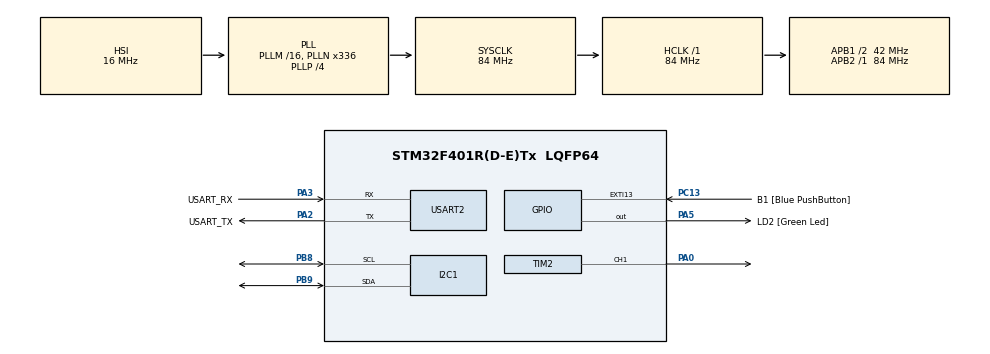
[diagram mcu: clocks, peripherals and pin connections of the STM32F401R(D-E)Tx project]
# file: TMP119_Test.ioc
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Mcu.Family=STM32F4
Mcu.Name=STM32F401R(D-E)Tx
Mcu.Package=LQFP64
NVIC.PriorityGroup=NVIC_PRIORITYGROUP_4
PA0-WKUP.Signal=S_TIM2_CH1_ETR
PA13.GPIO_Label=TMS
PA13.Mode=Trace_Asynchronous_SW
PA13.Signal=SYS_JTMS-SWDIO
PA14.GPIO_Label=TCK
PA14.Mode=Trace_Asynchronous_SW
PA14.Signal=SYS_JTCK-SWCLK
PA2.GPIO_Label=USART_TX
PA2.GPIO_Mode=GPIO_MODE_AF_PP
PA2.GPIO_PuPd=GPIO_NOPULL
PA2.GPIO_Speed=GPIO_SPEED_FREQ_LOW
PA2.Mode=Asynchronous
PA2.Signal=USART2_TX
PA3.GPIO_Label=USART_RX
PA3.GPIO_Mode=GPIO_MODE_AF_PP
PA3.GPIO_PuPd=GPIO_NOPULL
PA3.GPIO_Speed=GPIO_SPEED_FREQ_LOW
PA3.Mode=Asynchronous
PA3.Signal=USART2_RX
PA5.GPIO_Label=LD2 [Green Led]
PA5.GPIO_Mode=GPIO_MODE_OUTPUT_PP
PA5.GPIO_PuPd=GPIO_NOPULL
PA5.GPIO_Speed=GPIO_SPEED_FREQ_LOW
PA5.Signal=GPIO_Output
PB3.GPIO_Label=SWO
PB3.Mode=Trace_Asynchronous_SW
PB3.Signal=SYS_JTDO-SWO
PB8.Mode=I2C
PB8.Signal=I2C1_SCL
PB9.Mode=I2C
PB9.Signal=I2C1_SDA
PC13-ANTI_TAMP.GPIO_Label=B1 [Blue PushButton]
PC13-ANTI_TAMP.GPIO_ModeDefaultEXTI=GPIO_MODE_IT_FALLING
PC13-ANTI_TAMP.GPIO_PuPd=GPIO_NOPULL
PC13-ANTI_TAMP.Signal=GPXTI13
PC14-OSC32_IN.Mode=LSE-External-Oscillator
PC14-OSC32_IN.Signal=RCC_OSC32_IN
PC15-OSC32_OUT.Mode=LSE-External-Oscillator
PC15-OSC32_OUT.Signal=RCC_OSC32_OUT
PH0\ -\ OSC_IN.Mode=HSE-External-Clock-Source
PH0\ -\ OSC_IN.Signal=RCC_OSC_IN
PH1\ -\ OSC_OUT.Mode=HSE-External-Clock-Source
PH1\ -\ OSC_OUT.Signal=RCC_OSC_OUT
ProjectManager.HeapSize=0x200
ProjectManager.StackSize=0x400
ProjectManager.TargetToolchain=STM32CubeIDE
RCC.48MHZClocksFreq_Value=48000000
RCC.AHBFreq_Value=84000000
RCC.APB1CLKDivider=RCC_HCLK_DIV2
RCC.APB1Freq_Value=42000000
RCC.APB1TimFreq_Value=84000000
RCC.APB2Freq_Value=84000000
RCC.APB2TimFreq_Value=84000000
RCC.CortexFreq_Value=84000000
RCC.HCLKFreq_Value=84000000
RCC.HSE_VALUE=8000000
RCC.HSI_VALUE=16000000
RCC.PLLN=336
RCC.PLLP=RCC_PLLP_DIV4
RCC.PLLQ=7
RCC.SYSCLKFreq_VALUE=84000000
RCC.SYSCLKSource=RCC_SYSCLKSOURCE_PLLCLK
RCC.VCOOutputFreq_Value=336000000
SH.S_TIM2_CH1_ETR.0=TIM2_CH1,PWM Generation1 CH1
TIM2.Channel-PWM\ Generation1\ CH1=TIM_CHANNEL_1
TIM2.Period=999
TIM2.Prescaler=83
TIM2.Pulse-PWM\ Generation1\ CH1=500
USART2.VirtualMode=VM_ASYNC
board=NUCLEO-F401RE

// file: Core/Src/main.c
/* USER CODE BEGIN Header */
/**
  ******************************************************************************
  * @file           : main.c
  * @brief          : Main program body
  ******************************************************************************
  * @attention
  *
  * Copyright (c) 2026 STMicroelectronics.
  * All rights reserved.
  *
  * This software is licensed under terms that can be found in the LICENSE file
  * in the root directory of this software component.
  * If no LICENSE file comes with this software, it is provided AS-IS.
  *
  ******************************************************************************
  */
/* USER CODE END Header */
#include "main.h"
#include "tmp119.h"
#include "heater.h"
#include "controller.h"
/* USER CODE BEGIN Includes */
#include <stdio.h>
#include <stdbool.h>
/* USER CODE END Includes */

I2C_HandleTypeDef hi2c1;

TIM_HandleTypeDef htim2;

UART_HandleTypeDef huart2;

void SystemClock_Config(void);
static void MX_GPIO_Init(void);
static void MX_I2C1_Init(void);
static void MX_USART2_UART_Init(void);
static void MX_TIM2_Init(void);

int main(void)
{

  /* MCU Configuration--------------------------------------------------------*/

  /* Reset of all peripherals, Initializes the Flash interface and the Systick. */
  HAL_Init();

  /* Configure the system clock */
  SystemClock_Config();

  /* Initialize all configured peripherals */
  MX_GPIO_Init();
  MX_I2C1_Init();
  MX_USART2_UART_Init();
  MX_TIM2_Init();
  /* USER CODE BEGIN 2 */

  HAL_StatusTypeDef status;
  float temperature_c = 0.0f;
  char uart_buffer[128];
  int buffer_length;
  uint32_t elapsed_s = 0;

  /* Closed-loop controller configuration. */
  float setpoint = 35.0f;
  float Kp = 40.0f;
  float Ki = 0.20f;
  float dt = 1.0f;

  PI_Controller controller;

  PI_Controller_Init(&controller, Kp, Ki, dt);

  float duty = 0.0f;

  /* Verify communication with the temperature sensor before entering
   * closed-loop operation.
   */
  status = HAL_I2C_IsDeviceReady(
      &hi2c1,
      TMP119_I2C_ADDR << 1,
      3,
      100
  );

  /* Start PWM generation with an initial compare value of zero. */
  status = HAL_TIM_PWM_Start(
		  &htim2,
		  TIM_CHANNEL_1
  );

  uint32_t start_time = HAL_GetTick();

  /* USER CODE END 2 */

  /* Infinite loop */
  /* USER CODE BEGIN WHILE */
  while (1)
  {

	  elapsed_s = (HAL_GetTick() - start_time) / 1000;

	  status = TMP119_ReadTemperature(&hi2c1, &temperature_c);

	  if (status == HAL_OK)
	  {
	      /* Execute one closed-loop temperature-control iteration. */
		  duty = PI_Controller_Update(&controller, setpoint, temperature_c);

		  Heater_SetDuty(&htim2, TIM_CHANNEL_1, duty);

	      /* Stream validation data to the host PC for MATLAB analysis. */
		  buffer_length = snprintf(
		      uart_buffer,
		      sizeof(uart_buffer),
		      "%u,%.2f,%.2f,%.2f\r\n",
		      elapsed_s,
		      temperature_c,
		      setpoint,
		      duty
		  );

		  HAL_UART_Transmit(&huart2, uart_buffer, buffer_length, 100);

		/* USER CODE END WHILE */
	  }
		/* USER CODE BEGIN 3 */

	  HAL_Delay(1000);
  }

  /* USER CODE END 3 */
}

void SystemClock_Config(void)
{
  RCC_OscInitTypeDef RCC_OscInitStruct = {0};
  RCC_ClkInitTypeDef RCC_ClkInitStruct = {0};

  /** Configure the main internal regulator output voltage
  */
  __HAL_RCC_PWR_CLK_ENABLE();
  __HAL_PWR_VOLTAGESCALING_CONFIG(PWR_REGULATOR_VOLTAGE_SCALE2);

  /** Initializes the RCC Oscillators according to the specified parameters
  * in the RCC_OscInitTypeDef structure.
  */
  RCC_OscInitStruct.OscillatorType = RCC_OSCILLATORTYPE_HSI;
  RCC_OscInitStruct.HSIState = RCC_HSI_ON;
  RCC_OscInitStruct.HSICalibrationValue = RCC_HSICALIBRATION_DEFAULT;
  RCC_OscInitStruct.PLL.PLLState = RCC_PLL_ON;
  RCC_OscInitStruct.PLL.PLLSource = RCC_PLLSOURCE_HSI;
  RCC_OscInitStruct.PLL.PLLM = 16;
  RCC_OscInitStruct.PLL.PLLN = 336;
  RCC_OscInitStruct.PLL.PLLP = RCC_PLLP_DIV4;
  RCC_OscInitStruct.PLL.PLLQ = 7;
  if (HAL_RCC_OscConfig(&RCC_OscInitStruct) != HAL_OK)
  {
    Error_Handler();
  }

  /** Initializes the CPU, AHB and APB buses clocks
  */
  RCC_ClkInitStruct.ClockType = RCC_CLOCKTYPE_HCLK|RCC_CLOCKTYPE_SYSCLK
                              |RCC_CLOCKTYPE_PCLK1|RCC_CLOCKTYPE_PCLK2;
  RCC_ClkInitStruct.SYSCLKSource = RCC_SYSCLKSOURCE_PLLCLK;
  RCC_ClkInitStruct.AHBCLKDivider = RCC_SYSCLK_DIV1;
  RCC_ClkInitStruct.APB1CLKDivider = RCC_HCLK_DIV2;
  RCC_ClkInitStruct.APB2CLKDivider = RCC_HCLK_DIV1;

  if (HAL_RCC_ClockConfig(&RCC_ClkInitStruct, FLASH_LATENCY_2) != HAL_OK)
  {
    Error_Handler();
  }
}

static void MX_I2C1_Init(void)
{

  hi2c1.Instance = I2C1;
  hi2c1.Init.ClockSpeed = 100000;
  hi2c1.Init.DutyCycle = I2C_DUTYCYCLE_2;
  hi2c1.Init.OwnAddress1 = 0;
  hi2c1.Init.AddressingMode = I2C_ADDRESSINGMODE_7BIT;
  hi2c1.Init.DualAddressMode = I2C_DUALADDRESS_DISABLE;
  hi2c1.Init.OwnAddress2 = 0;
  hi2c1.Init.GeneralCallMode = I2C_GENERALCALL_DISABLE;
  hi2c1.Init.NoStretchMode = I2C_NOSTRETCH_DISABLE;
  if (HAL_I2C_Init(&hi2c1) != HAL_OK)
  {
    Error_Handler();
  }

}

static void MX_TIM2_Init(void)
{

  TIM_MasterConfigTypeDef sMasterConfig = {0};
  TIM_OC_InitTypeDef sConfigOC = {0};

  htim2.Instance = TIM2;
  htim2.Init.Prescaler = 83;
  htim2.Init.CounterMode = TIM_COUNTERMODE_UP;
  htim2.Init.Period = 999;
  htim2.Init.ClockDivision = TIM_CLOCKDIVISION_DIV1;
  htim2.Init.AutoReloadPreload = TIM_AUTORELOAD_PRELOAD_DISABLE;
  if (HAL_TIM_PWM_Init(&htim2) != HAL_OK)
  {
    Error_Handler();
  }
  sMasterConfig.MasterOutputTrigger = TIM_TRGO_RESET;
  sMasterConfig.MasterSlaveMode = TIM_MASTERSLAVEMODE_DISABLE;
  if (HAL_TIMEx_MasterConfigSynchronization(&htim2, &sMasterConfig) != HAL_OK)
  {
    Error_Handler();
  }
  sConfigOC.OCMode = TIM_OCMODE_PWM1;
  sConfigOC.Pulse = 0;
  sConfigOC.OCPolarity = TIM_OCPOLARITY_HIGH;
  sConfigOC.OCFastMode = TIM_OCFAST_DISABLE;
  if (HAL_TIM_PWM_ConfigChannel(&htim2, &sConfigOC, TIM_CHANNEL_1) != HAL_OK)
  {
    Error_Handler();
  }
  HAL_TIM_MspPostInit(&htim2);

}

static void MX_USART2_UART_Init(void)
{

  huart2.Instance = USART2;
  huart2.Init.BaudRate = 115200;
  huart2.Init.WordLength = UART_WORDLENGTH_8B;
  huart2.Init.StopBits = UART_STOPBITS_1;
  huart2.Init.Parity = UART_PARITY_NONE;
  huart2.Init.Mode = UART_MODE_TX_RX;
  huart2.Init.HwFlowCtl = UART_HWCONTROL_NONE;
  huart2.Init.OverSampling = UART_OVERSAMPLING_16;
  if (HAL_UART_Init(&huart2) != HAL_OK)
  {
    Error_Handler();
  }

}

static void MX_GPIO_Init(void)
{
  GPIO_InitTypeDef GPIO_InitStruct = {0};

  /* GPIO Ports Clock Enable */
  __HAL_RCC_GPIOC_CLK_ENABLE();
  __HAL_RCC_GPIOH_CLK_ENABLE();
  __HAL_RCC_GPIOA_CLK_ENABLE();
  __HAL_RCC_GPIOB_CLK_ENABLE();

  /*Configure GPIO pin Output Level */
  HAL_GPIO_WritePin(LD2_GPIO_Port, LD2_Pin, GPIO_PIN_RESET);

  /*Configure GPIO pin : B1_Pin */
  GPIO_InitStruct.Pin = B1_Pin;
  GPIO_InitStruct.Mode = GPIO_MODE_IT_FALLING;
  GPIO_InitStruct.Pull = GPIO_NOPULL;
  HAL_GPIO_Init(B1_GPIO_Port, &GPIO_InitStruct);

  /*Configure GPIO pin : LD2_Pin */
  GPIO_InitStruct.Pin = LD2_Pin;
  GPIO_InitStruct.Mode = GPIO_MODE_OUTPUT_PP;
  GPIO_InitStruct.Pull = GPIO_NOPULL;
  GPIO_InitStruct.Speed = GPIO_SPEED_FREQ_LOW;
  HAL_GPIO_Init(LD2_GPIO_Port, &GPIO_InitStruct);

}

void Error_Handler(void)
{
  __disable_irq();
  while (1)
  {
  }
}
